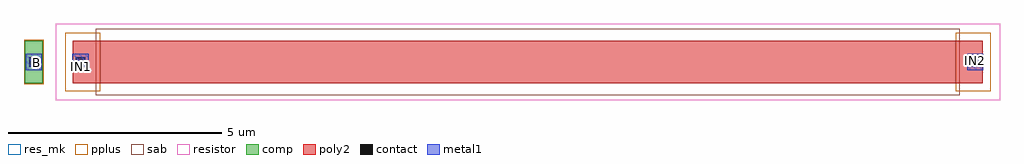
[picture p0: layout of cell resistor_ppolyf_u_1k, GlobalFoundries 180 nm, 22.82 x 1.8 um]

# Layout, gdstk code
import gdstk
lib = gdstk.Library(unit=1e-6, precision=5e-09)
def R(c, l, rs):  # rectangles x0, y0, x1, y1
    for r in rs: c.add(gdstk.rectangle(r[:2], r[2:], *l))
comp = (22, 0)
poly2 = (30, 0)
pplus = (31, 0)
contact = (33, 0)
metal1 = (34, 0)
sab = (49, 0)
resistor = (62, 0)
res_mk = (110, 5)

ppolyf_u_high_rs_resisto = lib.new_cell('ppolyf_u_high_Rs_resistor$1')
R(ppolyf_u_high_rs_resisto, comp, [(-1.76,0,-1.34,1)])
R(ppolyf_u_high_rs_resisto, poly2, [(-0.64,0,20.64,1)])
R(ppolyf_u_high_rs_resisto, pplus, [(-0.82,-0.18,0,1.18), (20,-0.18,20.82,1.18), (-1.78,-0.02,-1.32,1.02)])
R(ppolyf_u_high_rs_resisto, contact, [(-1.66,0.39,-1.44,0.61), (-0.57,0.39,-0.35,0.61), (20.35,0.39,20.57,0.61)])
R(ppolyf_u_high_rs_resisto, metal1, [(-1.74,0.31,-1.36,0.69), (-0.65,0.31,-0.27,0.69), (20.27,0.31,20.65,0.69)])
R(ppolyf_u_high_rs_resisto, sab, [(-0.1,-0.28,20.1,1.28)])
R(ppolyf_u_high_rs_resisto, resistor, [(-1.04,-0.4,21.04,1.4)])
R(ppolyf_u_high_rs_resisto, res_mk, [(0,0,20,1)])

resistor_ppolyf_u_1k = lib.new_cell('resistor_ppolyf_u_1k')
R(resistor_ppolyf_u_1k, metal1, [(5.655,5.695,5.7,5.76), (4.585,5.785,4.62,5.84), (26.56,5.86,26.57,5.87)])
resistor_ppolyf_u_1k.add(gdstk.Reference(ppolyf_u_high_rs_resisto, (6.1,5.335)))
resistor_ppolyf_u_1k.add(gdstk.Label('B', (4.605,5.82), layer=34, texttype=10))
resistor_ppolyf_u_1k.add(gdstk.Label('IN1', (5.67,5.74), layer=34, texttype=10))
resistor_ppolyf_u_1k.add(gdstk.Label('IN2', (26.565,5.865), layer=34, texttype=10))

lib.write_gds('resistor_ppolyf_u_1k.gds')
